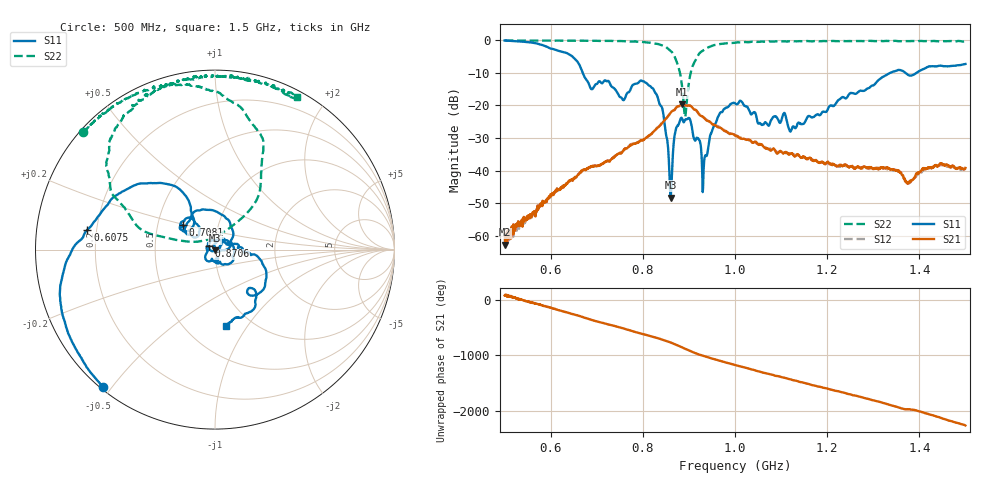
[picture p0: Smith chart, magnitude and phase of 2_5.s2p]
!Agilent Technologies,E8364B,US42250235,A.06.04.32
!Agilent E8364B: A.06.04.32
!Date: Friday, January 15, 2021 12:51:38
!Correction: S11(Full 2 Port(1,2)) S21(Full 2 Port(1,2)) S12(Full 2 Port(1,2)) S22(Full 2 Port(1,2))
!S2P File: Measurements: S11, S21, S12, S22:
# Hz S  dB  R 50
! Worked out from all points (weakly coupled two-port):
!   1601 points, 500 MHz to 1.5 GHz, reference 50 ohm
!   highest |S21| = -19.72 dB at 885.6 MHz (marker M1); lowest = -62.7 dB at 501.2 MHz (marker M2)
!   lowest |S11| = -48.3 dB at 860.6 MHz (marker M3), VSWR 1.01, Z = 49.8 - j0.342 ohm
!   |S11| at or under -10 dB: 669.5 MHz to 1.337 GHz (667.9 MHz wide, 66.6 % of centre); 1.369 GHz to 1.394 GHz (24.9 MHz wide, 1.8 % of centre)
!   |S22| runs from -23.6 to -0.1 dB; largest |S21 - S12| = 0.0034
!   S11 on the Smith chart (normalised r, x): 500 MHz: 0.01, -0.48; 607.5 MHz: 0.16, +0.07; 708.1 MHz: 0.67, +0.19; 870.6 MHz: 0.93, +0.04; 1.5 GHz: 0.77, -0.80
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5e8  -0.11 -129.1  -59.64 78.5  -61.31 92.4  -0.15 138.3
5.0125e8  -0.12 -129.7  -62.69 82.6  -60.84 87.1  -0.15 138.2
6.075e8  -2.86 171.2  -47.03 -160.6  -46.77 -161.4  -0.19 127.5
6.66875e8  -9.07 119.0  -39.99 57.3  -40.32 55.9  -0.17 121.9
7.08125e8  -12.88 142.9  -38.24 -45.8  -38.30 -46.3  -0.24 116.8
7.56875e8  -18.37 138.1  -34.07 -150.7  -33.99 -153.2  -0.36 110.2
7.99375e8  -12.61 111.3  -30.77 104.1  -30.68 102.6  -0.58 100.0
8.3375e8  -18.38 34.8  -26.67 25.5  -26.57 24.1  -1.22 87.9
8.45625e8  -23.82 0.1  -24.81 -3.8  -24.79 -6.5  -1.81 80.7
8.60625e8  -48.26 -117.5  -22.17 -48.8  -22.30 -49.9  -3.36 67.4
8.70625e8  -28.03 150.6  -21.05 -81.6  -21.01 -83.5  -5.62 60.3
8.85625e8  -24.25 98.8  -19.72 -138.8  -19.73 -140.3  -14.80 52.3
8.93125e8  -24.26 83.1  -20.03 -166.5  -20.01 -167.5  -22.35 137.8
9.075e8  -27.64 35.8  -20.68 140.7  -20.66 139.9  -8.18 165.9
9.33125e8  -37.09 102.7  -23.87 65.2  -23.89 64.9  -2.95 145.8
9.64375e8  -23.12 66.2  -26.78 -10.1  -26.44 -12.6  -1.29 131.0
1e9  -19.35 -17.7  -29.24 -93.3  -29.10 -94.5  -0.82 120.2
1.12e9  -28.02 -171.0  -34.76 9.9  -34.87 5.2  -0.34 102.4
1.166875e9  -23.68 38.8  -36.69 -95.3  -36.58 -94.1  -0.38 97.5
1.33375e9  -10.24 -22.2  -39.31 -87.1  -39.39 -86.9  -0.28 80.9
1.37625e9  -10.72 -51.9  -43.66 -170.9  -44.30 -172.2  -0.30 76.5
1.5e9  -7.32 -81.8  -39.18 -102.1  -39.88 -100.8  -0.33 61.8
